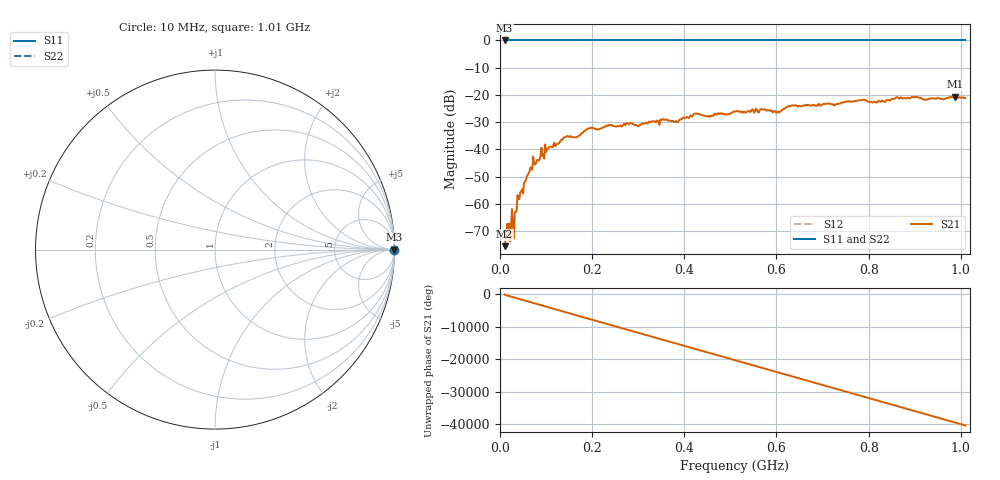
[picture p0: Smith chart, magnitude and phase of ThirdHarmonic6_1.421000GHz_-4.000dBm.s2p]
! 8/16/2025 4:20:09 PM
! C:\ANRITSUVNA\TEMP\TEMP.S2P
! CHANNEL.1
! TR.MEASUREMENT
! RAW.DATA
! RF.CORRECTION.OFF
! AVERAGING.OFF
! IF.BANDWIDTH: 5KHZ
! SWEEPTYPE:  FREQ.SWEEP(Linear)
! Reference Plane Port Info
! PORT:  PORT1  PORT2
! DISTANCE:  0  m  0  m
! TIME:  0  s  0  s
! PHASE.OFFSET:  0  deg.  0  deg.
! LOSS:  0  dB  0  dB
! REF.LOSS:  0  dB  0  dB
! REF.FREQ:  0  Hz  0  Hz
! Power Info
! POWER:  -20  dBm  -20  dBm
! EFF.POWER:  -20  dBm  -20  dBm
! SOURCE.ATTEN:  0  dB  0  dB
! TEST.ATTEN:  0  dB  0  dB
# GHZ S RI R 50.0
! FREQ.GHZ  S11RE  S11IM  S21RE  S21IM  S12RE  S12IM  S22RE  S22IM
!; PortSelection: Port_12
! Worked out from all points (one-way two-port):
!   501 points, 10 MHz to 1.01 GHz, reference 50 ohm
!   highest |S21| = -20.70 dB at 988 MHz (marker M1); lowest = -75.6 dB at 10 MHz (marker M2)
!   lowest |S11| = 0.0 dB at 10 MHz (marker M3)
!   |S11| at or under -10 dB: nowhere
!   |S22| runs from 0.0 to 0.0 dB; largest |S21 - S12| = 1.1
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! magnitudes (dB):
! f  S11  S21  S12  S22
! 10 MHz  0.0  -75.6  0.0  0.0
! 16 MHz  0.0  -67.4  0.0  0.0
! 24 MHz  0.0  -68.1  0.0  0.0
! 26 MHz  0.0  -61.9  0.0  0.0
! 30 MHz  0.0  -72.7  0.0  0.0
! 32 MHz  0.0  -63.5  0.0  0.0
! 36 MHz  0.0  -62.9  0.0  0.0
! 42 MHz  0.0  -58.3  0.0  0.0
! 70 MHz  0.0  -47.5  0.0  0.0
! 102 MHz  0.0  -39.9  0.0  0.0
! 142 MHz  0.0  -35.6  0.0  0.0
! 178 MHz  0.0  -34.1  0.0  0.0
! 196 MHz  0.0  -32.2  0.0  0.0
! 344 MHz  0.0  -29.7  0.0  0.0
! 424 MHz  0.0  -26.9  0.0  0.0
! 510 MHz  0.0  -26.0  0.0  0.0
! 604 MHz  0.0  -26.1  0.0  0.0
! 628 MHz  0.0  -24.2  0.0  0.0
! 678 MHz  0.0  -23.8  0.0  0.0
! 844 MHz  0.0  -22.0  0.0  0.0
! 988 MHz  0.0  -20.7  0.0  0.0
! 1.01 GHz  0.0  -21.2  0.0  0.0
